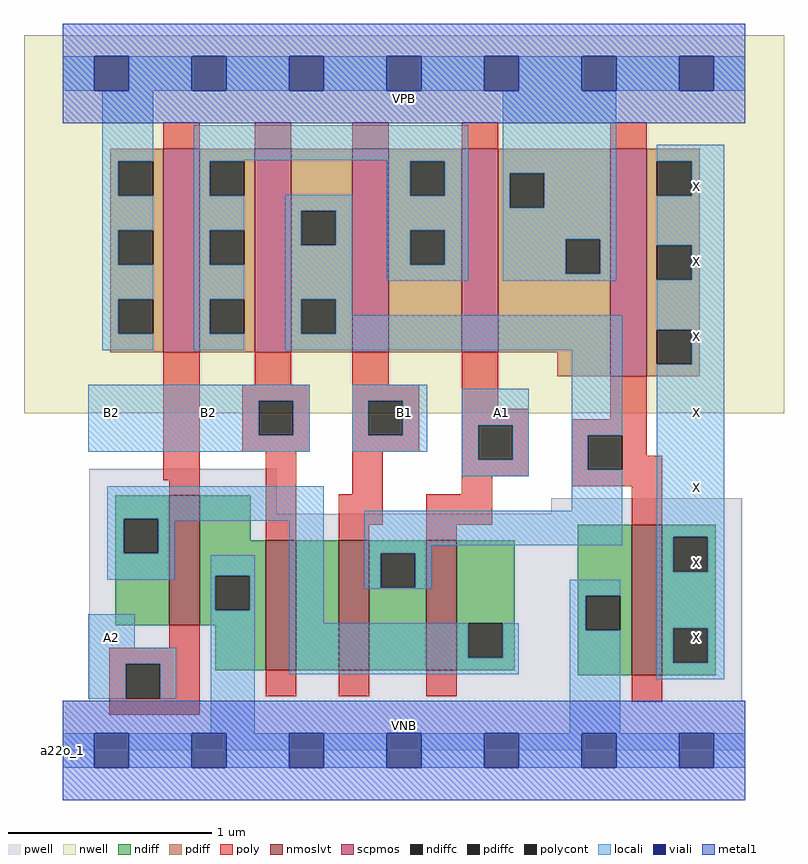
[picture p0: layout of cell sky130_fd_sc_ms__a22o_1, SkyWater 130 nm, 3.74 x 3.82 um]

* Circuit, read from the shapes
.subckt sky130_fd_sc_ms__a22o_1 A1 A2 B1 B2 VGND VNB VPB VPWR X
XM1 VGND A2 n1 VNB sky130_fd_pr__nfet_01v8_lvt w=0.64 l=0.15
XM2 n2 B2 VGND VNB sky130_fd_pr__nfet_01v8_lvt w=0.64 l=0.15
XM3 n3 B1 n2 VNB sky130_fd_pr__nfet_01v8_lvt w=0.64 l=0.15
XM4 n1 A1 n3 VNB sky130_fd_pr__nfet_01v8_lvt w=0.64 l=0.15
XM5 X n3 VGND VNB sky130_fd_pr__nfet_01v8_lvt w=0.74 l=0.15
XM6 n4 A2 VPWR VPB sky130_fd_pr__pfet_01v8 w=1 l=0.18
XM7 n3 B2 n4 VPB sky130_fd_pr__pfet_01v8 w=1 l=0.18
XM8 n4 B1 n3 VPB sky130_fd_pr__pfet_01v8 w=1 l=0.18
XM9 VPWR A1 n4 VPB sky130_fd_pr__pfet_01v8 w=1 l=0.18
XM10 X n3 VPWR VPB sky130_fd_pr__pfet_01v8 w=1.12 l=0.18
.ends

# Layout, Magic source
magic
tech sky130A
magscale 1 2
<< nwell >>
rect -38 332 710 704
<< pwell >>
rect 26 233 211 277
rect 481 233 669 248
rect 26 49 669 233
rect 0 0 672 49
<< scpmos >>
rect 99 392 135 592
rect 189 392 225 592
rect 285 392 321 592
rect 393 392 429 592
rect 539 368 575 592
<< nmoslvt >>
rect 105 123 135 251
rect 200 79 230 207
rect 272 79 302 207
rect 358 79 388 207
rect 560 74 590 222
<< ndiff >>
rect 52 228 105 251
rect 52 194 60 228
rect 94 194 105 228
rect 52 123 105 194
rect 135 207 185 251
rect 135 172 200 207
rect 135 138 150 172
rect 184 138 200 172
rect 135 123 200 138
rect 150 79 200 123
rect 230 79 272 207
rect 302 194 358 207
rect 302 160 313 194
rect 347 160 358 194
rect 302 79 358 160
rect 388 125 445 207
rect 388 91 399 125
rect 433 91 445 125
rect 388 79 445 91
rect 507 152 560 222
rect 507 118 515 152
rect 549 118 560 152
rect 507 74 560 118
rect 590 210 643 222
rect 590 176 601 210
rect 635 176 643 210
rect 590 120 643 176
rect 590 86 601 120
rect 635 86 643 120
rect 590 74 643 86
<< pdiff >>
rect 47 580 99 592
rect 47 546 55 580
rect 89 546 99 580
rect 47 512 99 546
rect 47 478 55 512
rect 89 478 99 512
rect 47 444 99 478
rect 47 410 55 444
rect 89 410 99 444
rect 47 392 99 410
rect 135 580 189 592
rect 135 546 145 580
rect 179 546 189 580
rect 135 512 189 546
rect 135 478 145 512
rect 179 478 189 512
rect 135 444 189 478
rect 135 410 145 444
rect 179 410 189 444
rect 135 392 189 410
rect 225 531 285 592
rect 225 497 235 531
rect 269 497 285 531
rect 225 444 285 497
rect 225 410 235 444
rect 269 410 285 444
rect 225 392 285 410
rect 321 580 393 592
rect 321 546 342 580
rect 376 546 393 580
rect 321 512 393 546
rect 321 478 342 512
rect 376 478 393 512
rect 321 392 393 478
rect 429 568 539 592
rect 429 534 440 568
rect 474 534 539 568
rect 429 503 539 534
rect 429 469 495 503
rect 529 469 539 503
rect 429 392 539 469
rect 487 368 539 392
rect 575 580 627 592
rect 575 546 585 580
rect 619 546 627 580
rect 575 497 627 546
rect 575 463 585 497
rect 619 463 627 497
rect 575 414 627 463
rect 575 380 585 414
rect 619 380 627 414
rect 575 368 627 380
<< ndiffc >>
rect 60 194 94 228
rect 150 138 184 172
rect 313 160 347 194
rect 399 91 433 125
rect 515 118 549 152
rect 601 176 635 210
rect 601 86 635 120
<< pdiffc >>
rect 55 546 89 580
rect 55 478 89 512
rect 55 410 89 444
rect 145 546 179 580
rect 145 478 179 512
rect 145 410 179 444
rect 235 497 269 531
rect 235 410 269 444
rect 342 546 376 580
rect 342 478 376 512
rect 440 534 474 568
rect 495 469 529 503
rect 585 546 619 580
rect 585 463 619 497
rect 585 380 619 414
<< poly >>
rect 99 592 135 618
rect 189 592 225 618
rect 285 592 321 618
rect 393 592 429 618
rect 539 592 575 618
rect 99 266 135 392
rect 189 360 225 392
rect 285 360 321 392
rect 177 344 243 360
rect 177 310 193 344
rect 227 310 243 344
rect 177 294 243 310
rect 285 344 351 360
rect 285 310 301 344
rect 335 310 351 344
rect 285 294 351 310
rect 393 336 429 392
rect 393 320 459 336
rect 539 326 575 368
rect 105 251 135 266
rect 200 207 230 294
rect 285 252 315 294
rect 393 286 409 320
rect 443 286 459 320
rect 393 270 459 286
rect 501 310 575 326
rect 501 276 517 310
rect 551 290 575 310
rect 551 276 590 290
rect 393 252 423 270
rect 501 260 590 276
rect 272 222 315 252
rect 358 222 423 252
rect 560 222 590 260
rect 272 207 302 222
rect 358 207 388 222
rect 105 101 135 123
rect 46 85 135 101
rect 46 51 62 85
rect 96 51 135 85
rect 200 53 230 79
rect 272 53 302 79
rect 358 53 388 79
rect 46 35 135 51
rect 560 48 590 74
<< polycont >>
rect 193 310 227 344
rect 301 310 335 344
rect 409 286 443 320
rect 517 276 551 310
rect 62 51 96 85
<< locali >>
rect 0 649 31 683
rect 65 649 127 683
rect 161 649 223 683
rect 257 649 319 683
rect 353 649 415 683
rect 449 649 511 683
rect 545 649 607 683
rect 641 649 672 683
rect 39 580 89 649
rect 39 546 55 580
rect 39 512 89 546
rect 39 478 55 512
rect 39 444 89 478
rect 39 410 55 444
rect 39 394 89 410
rect 129 581 399 615
rect 129 580 179 581
rect 129 546 145 580
rect 319 580 399 581
rect 129 512 179 546
rect 129 478 145 512
rect 129 444 179 478
rect 129 410 145 444
rect 129 394 179 410
rect 219 531 285 547
rect 219 497 235 531
rect 269 497 285 531
rect 219 444 285 497
rect 319 546 342 580
rect 376 546 399 580
rect 319 512 399 546
rect 319 478 342 512
rect 376 478 399 512
rect 319 462 399 478
rect 433 568 545 649
rect 433 534 440 568
rect 474 534 545 568
rect 433 503 545 534
rect 433 469 495 503
rect 529 469 545 503
rect 433 462 545 469
rect 585 580 651 596
rect 619 546 651 580
rect 585 497 651 546
rect 619 463 651 497
rect 219 410 235 444
rect 269 428 285 444
rect 269 410 551 428
rect 219 394 551 410
rect 25 344 243 360
rect 25 310 193 344
rect 227 310 243 344
rect 25 294 243 310
rect 285 344 359 360
rect 285 310 301 344
rect 335 310 359 344
rect 285 294 359 310
rect 393 320 459 356
rect 393 286 409 320
rect 443 286 459 320
rect 393 270 459 286
rect 501 310 551 394
rect 501 276 517 310
rect 44 228 257 260
rect 501 236 551 276
rect 44 194 60 228
rect 94 226 257 228
rect 94 194 110 226
rect 44 168 110 194
rect 146 172 189 192
rect 146 138 150 172
rect 184 138 189 172
rect 25 101 71 134
rect 25 85 112 101
rect 25 51 62 85
rect 96 51 112 85
rect 146 17 189 138
rect 223 125 257 226
rect 297 202 551 236
rect 585 414 651 463
rect 619 380 651 414
rect 585 210 651 380
rect 297 194 363 202
rect 297 160 313 194
rect 347 160 363 194
rect 585 176 601 210
rect 635 176 651 210
rect 297 159 363 160
rect 499 152 549 168
rect 223 91 399 125
rect 433 91 449 125
rect 223 75 449 91
rect 499 118 515 152
rect 499 17 549 118
rect 585 120 651 176
rect 585 86 601 120
rect 635 86 651 120
rect 585 70 651 86
rect 0 -17 31 17
rect 65 -17 127 17
rect 161 -17 223 17
rect 257 -17 319 17
rect 353 -17 415 17
rect 449 -17 511 17
rect 545 -17 607 17
rect 641 -17 672 17
<< viali >>
rect 31 649 65 683
rect 127 649 161 683
rect 223 649 257 683
rect 319 649 353 683
rect 415 649 449 683
rect 511 649 545 683
rect 607 649 641 683
rect 31 -17 65 17
rect 127 -17 161 17
rect 223 -17 257 17
rect 319 -17 353 17
rect 415 -17 449 17
rect 511 -17 545 17
rect 607 -17 641 17
<< metal1 >>
rect 0 683 672 715
rect 0 649 31 683
rect 65 649 127 683
rect 161 649 223 683
rect 257 649 319 683
rect 353 649 415 683
rect 449 649 511 683
rect 545 649 607 683
rect 641 649 672 683
rect 0 617 672 649
rect 0 17 672 49
rect 0 -17 31 17
rect 65 -17 127 17
rect 161 -17 223 17
rect 257 -17 319 17
rect 353 -17 415 17
rect 449 -17 511 17
rect 545 -17 607 17
rect 641 -17 672 17
rect 0 -49 672 -17
<< labels >>
flabel pwell s 0 0 672 49 0 FreeSans 200 0 0 0 VNB
port 6 nsew ground bidirectional
flabel nwell s 0 617 672 666 0 FreeSans 200 0 0 0 VPB
port 7 nsew power bidirectional
rlabel comment s 0 0 0 0 4 a22o_1
flabel metal1 s 0 617 672 666 0 FreeSans 340 0 0 0 VPWR
port 8 nsew power bidirectional
flabel metal1 s 0 0 672 49 0 FreeSans 340 0 0 0 VGND
port 5 nsew ground bidirectional
flabel locali s 607 94 641 128 0 FreeSans 340 0 0 0 X
port 9 nsew signal output
flabel locali s 607 168 641 202 0 FreeSans 340 0 0 0 X
port 9 nsew signal output
flabel locali s 607 242 641 276 0 FreeSans 340 0 0 0 X
port 9 nsew signal output
flabel locali s 607 316 641 350 0 FreeSans 340 0 0 0 X
port 9 nsew signal output
flabel locali s 607 390 641 424 0 FreeSans 340 0 0 0 X
port 9 nsew signal output
flabel locali s 607 464 641 498 0 FreeSans 340 0 0 0 X
port 9 nsew signal output
flabel locali s 607 538 641 572 0 FreeSans 340 0 0 0 X
port 9 nsew signal output
flabel locali s 31 316 65 350 0 FreeSans 340 0 0 0 B2
port 4 nsew signal input
flabel locali s 127 316 161 350 0 FreeSans 340 0 0 0 B2
port 4 nsew signal input
flabel locali s 319 316 353 350 0 FreeSans 340 0 0 0 B1
port 3 nsew signal input
flabel locali s 31 94 65 128 0 FreeSans 340 0 0 0 A2
port 2 nsew signal input
flabel locali s 415 316 449 350 0 FreeSans 340 0 0 0 A1
port 1 nsew signal input
<< properties >>
string LEFsite unit
string LEFclass CORE
string FIXED_BBOX 0 0 672 666
string GDS_FILE $PDKPATH/libs.ref/sky130_fd_sc_ms/gds/sky130_fd_sc_ms.gds
string LEFsymmetry X Y
string GDS_END 1126146
string GDS_START 1118846
<< end >>
